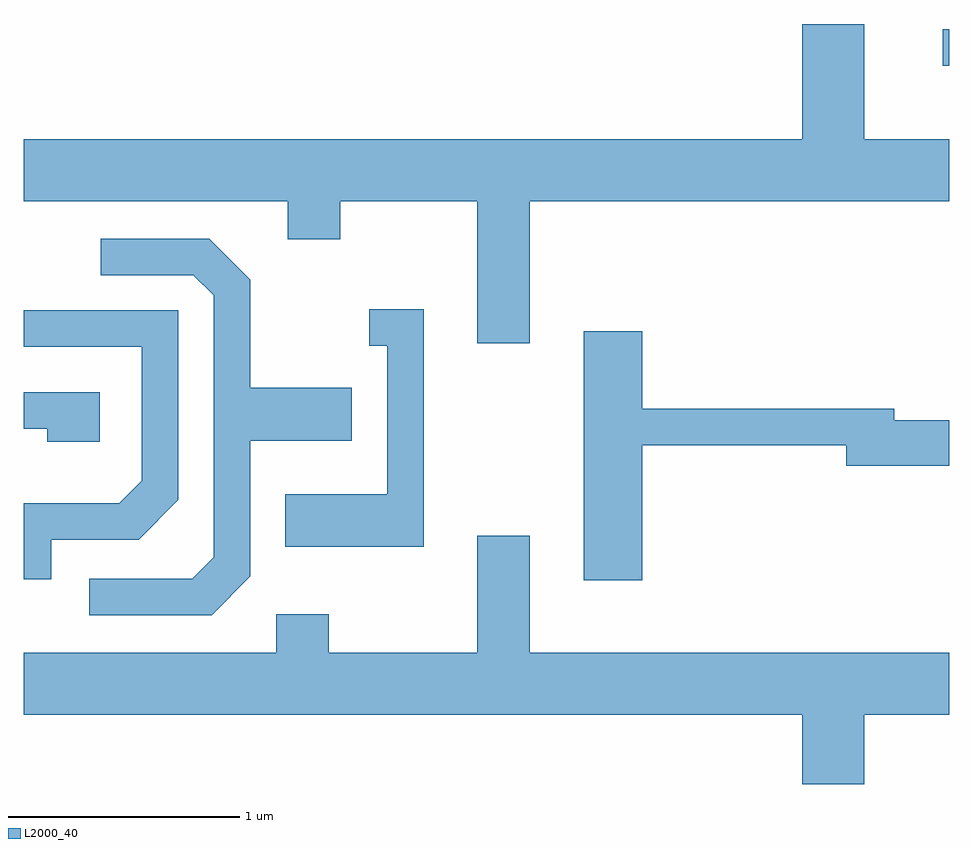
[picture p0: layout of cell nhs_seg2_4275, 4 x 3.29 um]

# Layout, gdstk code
import gdstk
lib = gdstk.Library(unit=1e-6, precision=1e-09)
def R(c, l, rs):  # rectangles x0, y0, x1, y1
    for r in rs: c.add(gdstk.rectangle(r[:2], r[2:], *l))
def P(c, l, *ps):  # polygons
    for p in ps: c.add(gdstk.Polygon(p, *l))
L2000_40 = (2000, 40)

nhs_seg2_4275 = lib.new_cell('nhs_seg2_4275')
R(nhs_seg2_4275, L2000_40, [(315.583,995.621,315.611,995.779)])
P(nhs_seg2_4275, L2000_40, [(313.799,995.036),(315.611,995.036),(315.611,995.304),(315.244,995.304),(315.244,995.802),(314.976,995.802),(314.976,995.304),(311.611,995.304),(311.611,995.036),(312.751,995.036),(312.751,994.871),(312.979,994.871),(312.979,995.036),(313.571,995.036),(313.571,994.421),(313.799,994.421)],
  [(312.589,993.414),(312.589,994.001),(313.029,994.001),(313.029,994.229),(312.589,994.229),(312.589,994.697),(312.412,994.874),(311.943,994.874),(311.943,994.716),(312.344,994.716),(312.431,994.629),(312.431,993.497),(312.339,993.404),(311.893,993.404),(311.893,993.246),(312.422,993.246)],
  [(313.339,994.569),(313.103,994.569),(313.103,994.411),(313.181,994.411),(313.181,993.769),(312.741,993.769),(312.741,993.541),(313.339,993.541)],
  [(311.729,993.571),(312.107,993.571),(312.279,993.744),(312.279,994.564),(311.611,994.564),(311.611,994.406),(312.121,994.406),(312.121,993.827),(312.024,993.729),(311.611,993.729),(311.611,993.401),(311.729,993.401)],
  [(314.284,993.981),(315.166,993.981),(315.166,993.891),(315.611,993.891),(315.611,994.089),(315.374,994.089),(315.374,994.139),(314.284,994.139),(314.284,994.474),(314.031,994.474),(314.031,993.396),(314.284,993.396)],
  [(311.939,994.209),(311.611,994.209),(311.611,994.051),(311.711,994.051),(311.711,993.996),(311.939,993.996)],
  [(315.244,992.816),(315.611,992.816),(315.611,993.084),(313.799,993.084),(313.799,993.589),(313.571,993.589),(313.571,993.084),(312.929,993.084),(312.929,993.249),(312.701,993.249),(312.701,993.084),(311.611,993.084),(311.611,992.816),(314.976,992.816),(314.976,992.516),(315.244,992.516)])

lib.write_gds('nhs_seg2_4275.gds')
